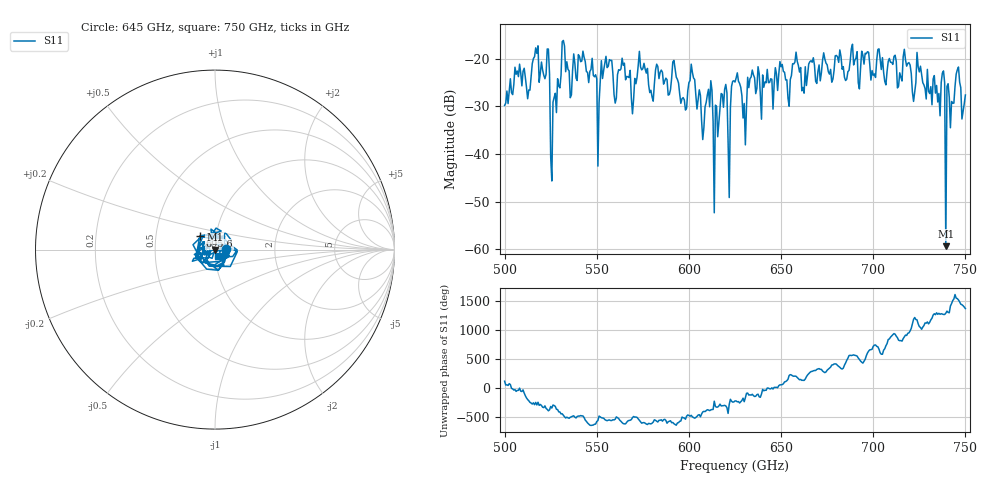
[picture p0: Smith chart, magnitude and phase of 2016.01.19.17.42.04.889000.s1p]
!Created with skrf (http://scikit-rf.org).
# GHz S RI R 50.0
!freq ReS11 ImS11
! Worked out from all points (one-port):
!   401 points, 500 GHz to 750 GHz, reference 50 ohm
!   lowest |S11| = -59.4 dB at 739.4 GHz (marker M1), VSWR 1.00, Z = 49.9 - j0.0643 ohm
!   |S11| at or under -10 dB: start of sweep to end of sweep
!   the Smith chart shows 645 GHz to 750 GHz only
!   S11 on the Smith chart (normalised r, x): 645 GHz: 1.13, +0.01; 695.6 GHz: 0.84, +0.13; 750 GHz: 1.03, -0.08
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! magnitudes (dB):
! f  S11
! 500 GHz  -29.8
! 513.1 GHz  -26.6
! 516.9 GHz  -17.7
! 523.1 GHz  -18.0
! 526.2 GHz  -29.1
! 531.2 GHz  -16.4
! 550.6 GHz  -42.6
! 553.8 GHz  -22.4
! 562.5 GHz  -22.4
! 593.8 GHz  -24.4
! 597.5 GHz  -28.7
! 601.9 GHz  -22.9
! 608.1 GHz  -34.5
! 611.2 GHz  -30.1
! 615 GHz  -30.0
! 618.8 GHz  -30.2
! 622.5 GHz  -30.4
! 625 GHz  -24.9
! 630 GHz  -29.4
! 634.4 GHz  -22.4
! 645 GHz  -24.3
! 656.2 GHz  -21.1
! 687.5 GHz  -20.5
! 695.6 GHz  -18.9
! 718.8 GHz  -21.0
! 739.4 GHz  -59.4
! 745.6 GHz  -22.3
! 750 GHz  -27.6
